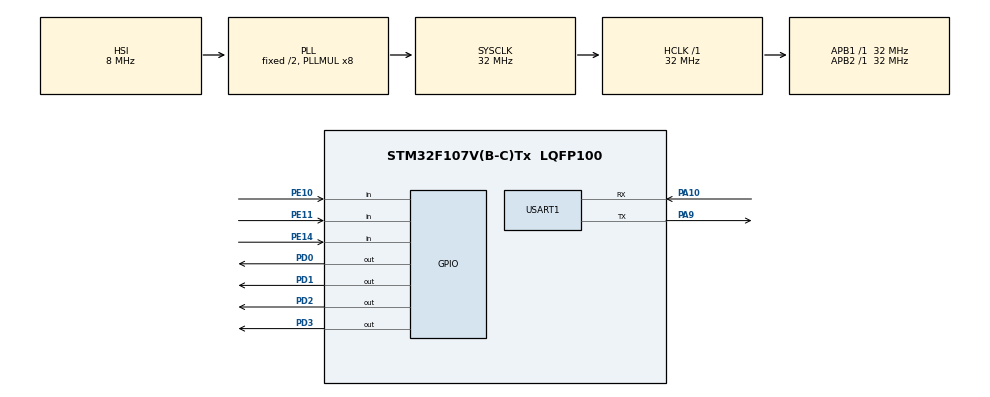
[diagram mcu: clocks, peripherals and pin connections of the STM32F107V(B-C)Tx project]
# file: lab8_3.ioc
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Mcu.Family=STM32F1
Mcu.Name=STM32F107V(B-C)Tx
Mcu.Package=LQFP100
NVIC.PriorityGroup=NVIC_PRIORITYGROUP_4
PA10.Mode=Asynchronous
PA10.Signal=USART1_RX
PA9.Mode=Asynchronous
PA9.Signal=USART1_TX
PD0.Signal=GPIO_Output
PD1.Signal=GPIO_Output
PD2.Signal=GPIO_Output
PD3.Signal=GPIO_Output
PE10.GPIO_PuPd=GPIO_PULLDOWN
PE10.Signal=GPIO_Input
PE11.GPIO_PuPd=GPIO_PULLDOWN
PE11.Signal=GPIO_Input
PE14.GPIO_PuPd=GPIO_PULLDOWN
PE14.Signal=GPIO_Input
ProjectManager.HeapSize=0x200
ProjectManager.StackSize=0x400
ProjectManager.TargetToolchain=STM32CubeIDE
RCC.AHBFreq_Value=32000000
RCC.APB1Freq_Value=32000000
RCC.APB1TimFreq_Value=32000000
RCC.APB2Freq_Value=32000000
RCC.APB2TimFreq_Value=32000000
RCC.HCLKFreq_Value=32000000
RCC.PLLMUL=RCC_PLL_MUL8
RCC.SYSCLKFreq_VALUE=32000000
RCC.SYSCLKSource=RCC_SYSCLKSOURCE_PLLCLK
RCC.USBFreq_Value=21333333.333333332
USART1.VirtualMode=VM_ASYNC
VP_SYS_VS_ND.Mode=No_Debug
board=custom

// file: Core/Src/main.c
/* USER CODE BEGIN Header */
/**
  ******************************************************************************
  * @file           : main.c
  * @brief          : Main program body
  ******************************************************************************
  * @attention
  *
  * <h2><center>&copy; Copyright (c) 2020 STMicroelectronics.
  * All rights reserved.</center></h2>
  *
  * This software component is licensed by ST under BSD 3-Clause license,
  * the "License"; You may not use this file except in compliance with the
  * License. You may obtain a copy of the License at:
  *                        opensource.org/licenses/BSD-3-Clause
  *
  ******************************************************************************
  */
/* USER CODE END Header */

#include "main.h"

UART_HandleTypeDef huart1;

void SystemClock_Config(void);
static void MX_GPIO_Init(void);
static void MX_USART1_UART_Init(void);

int main(void)
{

  /* MCU Configuration--------------------------------------------------------*/

  /* Reset of all peripherals, Initializes the Flash interface and the Systick. */
  HAL_Init();

  /* Configure the system clock */
  SystemClock_Config();

  /* Initialize all configured peripherals */
  MX_GPIO_Init();
  MX_USART1_UART_Init();
  /* USER CODE BEGIN 2 */
  uint8_t number = 48;
  /* USER CODE END 2 */

  /* Infinite loop */
  while (1)
  {

    /* USER CODE BEGIN 3 */
	  HAL_UART_Transmit(&huart1, &number, sizeof(number), HAL_MAX_DELAY);
	  HAL_UART_Transmit(&huart1, "\n", sizeof(number), HAL_MAX_DELAY);
	  HAL_Delay(1000);

	  if (HAL_GPIO_ReadPin(GPIOE, GPIO_PIN_11)) {
		  for(int i=0;i<40;i++){
			  if(number < 57) {
				  number++;

			  } else if (number == 57) {
				  number = 48;
			  }
			  HAL_UART_Transmit(&huart1, &number, sizeof(number), HAL_MAX_DELAY);
			  HAL_UART_Transmit(&huart1, "\n", sizeof(number), HAL_MAX_DELAY);
			  HAL_Delay(1000);
			  GPIOD->ODR = number;
			  if (HAL_GPIO_ReadPin(GPIOE, GPIO_PIN_10)) {
				  break;
		 	  } if (HAL_GPIO_ReadPin(GPIOE, GPIO_PIN_14)) {
				  break;
			  }
		  }

	  } if (HAL_GPIO_ReadPin(GPIOE, GPIO_PIN_10)) {
		  for(int i=0;i<40;i++) {
			  if (number > 47) {
				  number--;

			  } else if (number == 47) {
				  number = 57;
			  }
			  HAL_UART_Transmit(&huart1, &number, sizeof(number), HAL_MAX_DELAY);
			  HAL_UART_Transmit(&huart1, "\n", sizeof(number), HAL_MAX_DELAY);
			  HAL_Delay(1000);
			  GPIOD->ODR = number;
			  if (HAL_GPIO_ReadPin(GPIOE, GPIO_PIN_11)) {
				  break;
			  } if (HAL_GPIO_ReadPin(GPIOE, GPIO_PIN_14)) {
				  break;
			  }
		  }

	  } if (HAL_GPIO_ReadPin(GPIOE, GPIO_PIN_14)) {
		  for(int i=0;i<40;i++) {
			  if (number > 47 && number < 57) {
				  number == number;
			  }
			  HAL_UART_Transmit(&huart1, &number, sizeof(number), HAL_MAX_DELAY);
			  HAL_UART_Transmit(&huart1, "\n", sizeof(number), HAL_MAX_DELAY);
			  HAL_Delay(1000);
			  GPIOD->ODR = number;
			  if (HAL_GPIO_ReadPin(GPIOE, GPIO_PIN_11)) {
				  break;
			  } if (HAL_GPIO_ReadPin(GPIOE, GPIO_PIN_10)) {
				  break;
			  }
		  }
	  }

  }
  /* USER CODE END 3 */
}

void SystemClock_Config(void)
{
  RCC_OscInitTypeDef RCC_OscInitStruct = {0};
  RCC_ClkInitTypeDef RCC_ClkInitStruct = {0};

  /** Initializes the CPU, AHB and APB busses clocks
  */
  RCC_OscInitStruct.OscillatorType = RCC_OSCILLATORTYPE_HSI;
  RCC_OscInitStruct.HSIState = RCC_HSI_ON;
  RCC_OscInitStruct.HSICalibrationValue = RCC_HSICALIBRATION_DEFAULT;
  RCC_OscInitStruct.Prediv1Source = RCC_PREDIV1_SOURCE_HSE;
  RCC_OscInitStruct.PLL.PLLState = RCC_PLL_ON;
  RCC_OscInitStruct.PLL.PLLSource = RCC_PLLSOURCE_HSI_DIV2;
  RCC_OscInitStruct.PLL.PLLMUL = RCC_PLL_MUL8;
  RCC_OscInitStruct.PLL2.PLL2State = RCC_PLL_NONE;
  if (HAL_RCC_OscConfig(&RCC_OscInitStruct) != HAL_OK)
  {
    Error_Handler();
  }
  /** Initializes the CPU, AHB and APB busses clocks
  */
  RCC_ClkInitStruct.ClockType = RCC_CLOCKTYPE_HCLK|RCC_CLOCKTYPE_SYSCLK
                              |RCC_CLOCKTYPE_PCLK1|RCC_CLOCKTYPE_PCLK2;
  RCC_ClkInitStruct.SYSCLKSource = RCC_SYSCLKSOURCE_PLLCLK;
  RCC_ClkInitStruct.AHBCLKDivider = RCC_SYSCLK_DIV1;
  RCC_ClkInitStruct.APB1CLKDivider = RCC_HCLK_DIV1;
  RCC_ClkInitStruct.APB2CLKDivider = RCC_HCLK_DIV1;

  if (HAL_RCC_ClockConfig(&RCC_ClkInitStruct, FLASH_LATENCY_1) != HAL_OK)
  {
    Error_Handler();
  }
  /** Configure the Systick interrupt time
  */
  __HAL_RCC_PLLI2S_ENABLE();
}

static void MX_USART1_UART_Init(void)
{

  huart1.Instance = USART1;
  huart1.Init.BaudRate = 115200;
  huart1.Init.WordLength = UART_WORDLENGTH_8B;
  huart1.Init.StopBits = UART_STOPBITS_1;
  huart1.Init.Parity = UART_PARITY_NONE;
  huart1.Init.Mode = UART_MODE_TX_RX;
  huart1.Init.HwFlowCtl = UART_HWCONTROL_NONE;
  huart1.Init.OverSampling = UART_OVERSAMPLING_16;
  if (HAL_UART_Init(&huart1) != HAL_OK)
  {
    Error_Handler();
  }

}

static void MX_GPIO_Init(void)
{
  GPIO_InitTypeDef GPIO_InitStruct = {0};

  /* GPIO Ports Clock Enable */
  __HAL_RCC_GPIOE_CLK_ENABLE();
  __HAL_RCC_GPIOA_CLK_ENABLE();
  __HAL_RCC_GPIOD_CLK_ENABLE();

  /*Configure GPIO pin Output Level */
  HAL_GPIO_WritePin(GPIOD, GPIO_PIN_0|GPIO_PIN_1|GPIO_PIN_2|GPIO_PIN_3, GPIO_PIN_RESET);

  /*Configure GPIO pins : PE10 PE11 PE14 */
  GPIO_InitStruct.Pin = GPIO_PIN_10|GPIO_PIN_11|GPIO_PIN_14;
  GPIO_InitStruct.Mode = GPIO_MODE_INPUT;
  GPIO_InitStruct.Pull = GPIO_PULLDOWN;
  HAL_GPIO_Init(GPIOE, &GPIO_InitStruct);

  /*Configure GPIO pins : PD0 PD1 PD2 PD3 */
  GPIO_InitStruct.Pin = GPIO_PIN_0|GPIO_PIN_1|GPIO_PIN_2|GPIO_PIN_3;
  GPIO_InitStruct.Mode = GPIO_MODE_OUTPUT_PP;
  GPIO_InitStruct.Pull = GPIO_NOPULL;
  GPIO_InitStruct.Speed = GPIO_SPEED_FREQ_LOW;
  HAL_GPIO_Init(GPIOD, &GPIO_InitStruct);

}

void Error_Handler(void)
{
}

/************************ (C) COPYRIGHT STMicroelectronics *****END OF FILE****/
